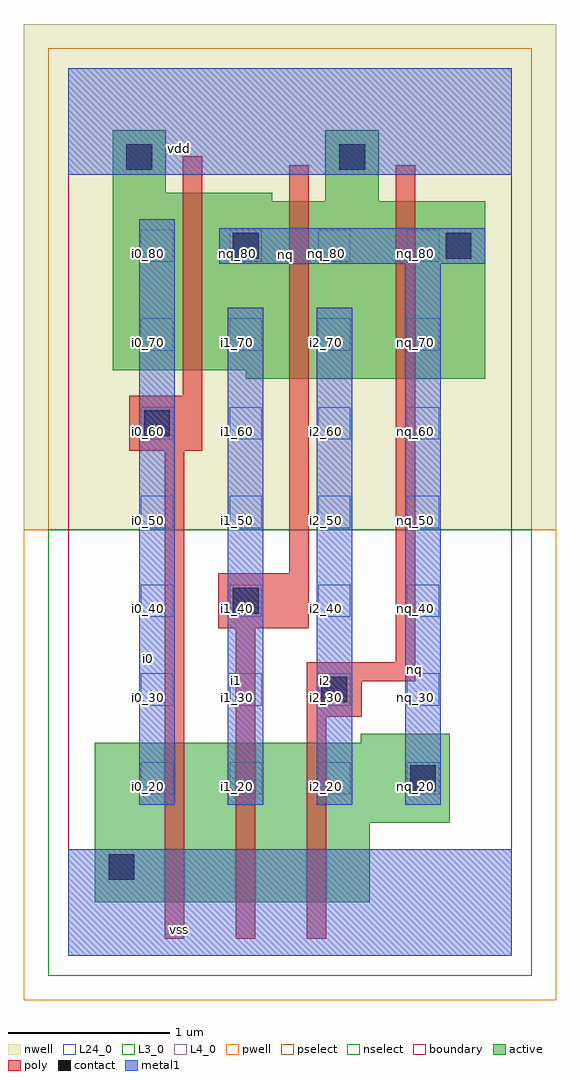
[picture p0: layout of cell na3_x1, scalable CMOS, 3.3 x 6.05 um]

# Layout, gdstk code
import gdstk
lib = gdstk.Library(unit=1e-6, precision=2.5e-09)
def R(c, l, rs):  # rectangles x0, y0, x1, y1
    for r in rs: c.add(gdstk.rectangle(r[:2], r[2:], *l))
def A(c, l, x, y, w, h, nx, ny, dx, dy):  # array of equal rectangles
    R(c, l, [(x+i*dx, y+j*dy, x+i*dx+w, y+j*dy+h) for i in range(nx) for j in range(ny)])
L3_0 = (3, 0)
L4_0 = (4, 0)
L24_0 = (24, 0)
contact = (25, 0)
pwell = (41, 0)
nwell = (42, 0)
active = (43, 0)
pselect = (44, 0)
nselect = (45, 0)
poly = (46, 0)
metal1 = (49, 0)
boundary = (63, 0)

na3_x1 = lib.new_cell('na3_x1')
R(na3_x1, L3_0, [(0.165,0.33,1.87,0.825), (0.165,0.825,2.365,1.32), (1.815,1.32,2.365,1.375)])
R(na3_x1, L4_0, [(1.1,3.575,2.585,3.63), (0.275,3.63,2.585,4.675), (0.275,4.675,1.265,4.73), (1.595,4.675,1.925,5.115), (0.275,4.73,0.605,5.115)])
A(na3_x1, L24_0, 0.45, 1, 0.2, 0.2, 4, 7, 0.55, 0.55)
R(na3_x1, contact, [(0.25,0.47,0.41,0.63), (2.12,1.02,2.28,1.18), (1.57,1.57,1.73,1.73), (1.02,2.12,1.18,2.28), (0.47,3.22,0.63,3.38), (1.02,4.32,1.18,4.48), (2.34,4.32,2.5,4.48), (0.36,4.87,0.52,5.03), (1.68,4.87,1.84,5.03)])
R(na3_x1, pwell, [(-0.275,-0.275,3.025,2.64)])
R(na3_x1, nwell, [(-0.275,2.64,3.025,5.775)])
R(na3_x1, active, [(0.165,0.33,1.87,0.825), (0.165,0.825,2.365,1.32), (1.815,1.32,2.365,1.375), (1.1,3.575,2.585,3.63), (0.275,3.63,2.585,4.675), (0.275,4.675,1.265,4.73), (1.595,4.675,1.925,5.115), (0.275,4.73,0.605,5.115)])
R(na3_x1, pselect, [(-0.125,2.64,2.875,5.625)])
R(na3_x1, nselect, [(-0.125,-0.125,2.875,2.64)])
R(na3_x1, poly, [(0.6,0.105,0.72,3.13), (1.04,0.105,1.16,2.03), (1.48,0.105,1.6,1.48), (1.48,1.48,1.82,1.7), (1.48,1.7,2.15,1.82), (2.03,1.82,2.15,4.9), (0.93,2.03,1.49,2.37), (1.37,2.37,1.49,4.9), (0.38,3.13,0.83,3.47), (0.71,3.47,0.83,4.955)])
R(na3_x1, metal1, [(0,0,2.75,0.66), (0.44,0.935,0.66,4.565), (0.99,0.935,1.21,4.015), (1.54,0.935,1.76,4.015), (2.09,0.935,2.31,4.29), (0.935,4.29,2.585,4.51), (0,4.84,2.75,5.5)])
R(na3_x1, boundary, [(0,0,2.75,5.5)])
na3_x1.add(gdstk.Label('vss', (0.6875,0.165), layer=49, texttype=0))
na3_x1.add(gdstk.Label('nq', (2.145,1.7725), layer=49, texttype=0))
na3_x1.add(gdstk.Label('i2', (1.595,1.705), layer=49, texttype=0))
na3_x1.add(gdstk.Label('i1', (1.045,1.705), layer=49, texttype=0))
na3_x1.add(gdstk.Label('nq', (1.3475,4.345), layer=49, texttype=0))
na3_x1.add(gdstk.Label('i0', (0.495,1.8425), layer=49, texttype=0))
na3_x1.add(gdstk.Label('vdd', (0.6875,5.005), layer=49, texttype=0))
na3_x1.add(gdstk.Label('nq_80', (1.05,4.35), layer=24, texttype=0))
na3_x1.add(gdstk.Label('nq_80', (1.6,4.35), layer=24, texttype=0))
na3_x1.add(gdstk.Label('nq_80', (2.15,4.35), layer=24, texttype=0))
na3_x1.add(gdstk.Label('nq_70', (2.15,3.8), layer=24, texttype=0))
na3_x1.add(gdstk.Label('nq_50', (2.15,2.7), layer=24, texttype=0))
na3_x1.add(gdstk.Label('nq_60', (2.15,3.25), layer=24, texttype=0))
na3_x1.add(gdstk.Label('nq_40', (2.15,2.15), layer=24, texttype=0))
na3_x1.add(gdstk.Label('nq_30', (2.15,1.6), layer=24, texttype=0))
na3_x1.add(gdstk.Label('nq_20', (2.15,1.05), layer=24, texttype=0))
na3_x1.add(gdstk.Label('i0_80', (0.5,4.35), layer=24, texttype=0))
na3_x1.add(gdstk.Label('i0_70', (0.5,3.8), layer=24, texttype=0))
na3_x1.add(gdstk.Label('i0_60', (0.5,3.25), layer=24, texttype=0))
na3_x1.add(gdstk.Label('i0_50', (0.5,2.7), layer=24, texttype=0))
na3_x1.add(gdstk.Label('i0_40', (0.5,2.15), layer=24, texttype=0))
na3_x1.add(gdstk.Label('i0_30', (0.5,1.6), layer=24, texttype=0))
na3_x1.add(gdstk.Label('i0_20', (0.5,1.05), layer=24, texttype=0))
na3_x1.add(gdstk.Label('i1_70', (1.05,3.8), layer=24, texttype=0))
na3_x1.add(gdstk.Label('i1_60', (1.05,3.25), layer=24, texttype=0))
na3_x1.add(gdstk.Label('i1_50', (1.05,2.7), layer=24, texttype=0))
na3_x1.add(gdstk.Label('i1_40', (1.05,2.15), layer=24, texttype=0))
na3_x1.add(gdstk.Label('i1_30', (1.05,1.6), layer=24, texttype=0))
na3_x1.add(gdstk.Label('i1_20', (1.05,1.05), layer=24, texttype=0))
na3_x1.add(gdstk.Label('i2_70', (1.6,3.8), layer=24, texttype=0))
na3_x1.add(gdstk.Label('i2_60', (1.6,3.25), layer=24, texttype=0))
na3_x1.add(gdstk.Label('i2_50', (1.6,2.7), layer=24, texttype=0))
na3_x1.add(gdstk.Label('i2_40', (1.6,2.15), layer=24, texttype=0))
na3_x1.add(gdstk.Label('i2_30', (1.6,1.6), layer=24, texttype=0))
na3_x1.add(gdstk.Label('i2_20', (1.6,1.05), layer=24, texttype=0))

lib.write_gds('na3_x1.gds')
